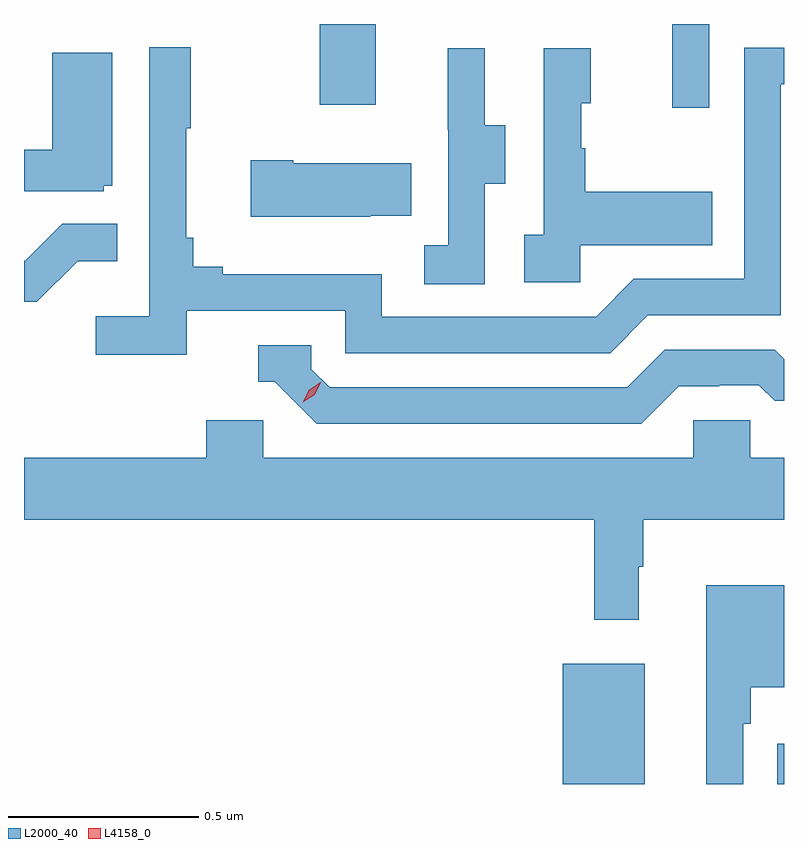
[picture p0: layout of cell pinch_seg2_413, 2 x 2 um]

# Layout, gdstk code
import gdstk
lib = gdstk.Library(unit=1e-6, precision=1e-09)
def R(c, l, rs):  # rectangles x0, y0, x1, y1
    for r in rs: c.add(gdstk.rectangle(r[:2], r[2:], *l))
def P(c, l, *ps):  # polygons
    for p in ps: c.add(gdstk.Polygon(p, *l))
L2000_40 = (2000, 40)
L4158_0 = (4158, 0)

pinch_seg2_413 = lib.new_cell('pinch_seg2_413')
R(pinch_seg2_413, L2000_40, [(966.998,617.637,967.213,617.953), (967.562,617.637,967.58,617.743), (967.286,619.416,967.383,619.637), (966.358,619.425,966.505,619.637)])
P(pinch_seg2_413, L2000_40, [(966.008,618.882),(966.426,618.882),(966.426,618.771),(967.123,618.771),(967.222,618.87),(967.572,618.87),(967.572,619.479),(967.58,619.479),(967.58,619.575),(967.476,619.575),(967.476,618.966),(967.185,618.966),(967.086,618.867),(966.522,618.867),(966.522,618.979),(966.103,618.979),(966.103,618.998),(966.026,618.998),(966.026,619.075),(966.007,619.075),(966.007,619.363),(966.019,619.363),(966.019,619.576),(965.91,619.576),(965.91,618.868),(965.769,618.868),(965.769,618.766),(966.008,618.766)],
  [(966.792,619.216),(966.847,619.216),(966.847,619.371),(966.793,619.371),(966.793,619.573),(966.695,619.573),(966.695,619.359),(966.696,619.359),(966.696,619.055),(966.633,619.055),(966.633,618.952),(966.792,618.952)],
  [(967.044,619.055),(967.391,619.055),(967.391,619.195),(967.057,619.195),(967.057,619.31),(967.047,619.31),(967.047,619.428),(967.072,619.428),(967.072,619.573),(966.948,619.573),(966.948,619.082),(966.897,619.082),(966.897,618.957),(967.044,618.957)],
  [(965.79,619.212),(965.812,619.212),(965.812,619.561),(965.654,619.561),(965.654,619.306),(965.58,619.306),(965.58,619.197),(965.79,619.197)],
  [(966.491,619.133),(966.599,619.133),(966.599,619.27),(966.289,619.27),(966.289,619.278),(966.177,619.278),(966.177,619.13),(966.491,619.13)],
  [(965.721,619.013),(965.825,619.013),(965.825,619.112),(965.681,619.112),(965.583,619.014),(965.58,619.014),(965.58,618.906),(965.614,618.906)],
  [(967.303,618.684),(967.41,618.684),(967.41,618.687),(967.513,618.687),(967.555,618.645),(967.58,618.645),(967.58,618.755),(967.555,618.78),(967.266,618.78),(967.167,618.681),(966.384,618.681),(966.336,618.729),(966.336,618.792),(966.197,618.792),(966.197,618.696),(966.24,618.696),(966.351,618.585),(967.204,618.585)],
  [(967.198,618.209),(967.21,618.209),(967.21,618.332),(967.58,618.332),(967.58,618.496),(967.491,618.496),(967.491,618.594),(967.341,618.594),(967.341,618.496),(966.21,618.496),(966.21,618.594),(966.059,618.594),(966.059,618.496),(965.58,618.496),(965.58,618.332),(967.081,618.332),(967.081,618.069),(967.198,618.069)],
  [(967.473,617.795),(967.493,617.795),(967.493,617.891),(967.58,617.891),(967.58,618.16),(967.376,618.16),(967.376,617.637),(967.473,617.637)])
P(pinch_seg2_413, L4158_0, [(966.314,618.642),(966.314,618.642),(966.33,618.675),(966.361,618.694),(966.361,618.694),(966.361,618.694),(966.345,618.661),(966.314,618.642)])

lib.write_gds('pinch_seg2_413.gds')
